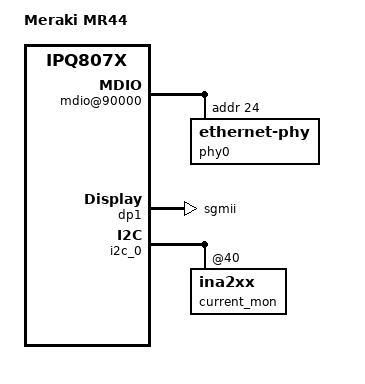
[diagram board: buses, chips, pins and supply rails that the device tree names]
/dts-v1/;

/*
 * device tree for Xray Spex (MR44)
 */

#include "qcom-ipq807x-axe2.dtsi"
#include "qcom-ipq807x-ac-cpu.dtsi"

/ {
	model = "Meraki MR44";
	compatible = "qcom,ipq807x-ac02", "qcom,ipq807x";
};

&soc {
	qca,scm_restart_reason {
		reg = <0xBFF00000 1024>;
		reg-names = "ramoops";
	};

	mdio@90000 {
		pinctrl-0 = <&mdio_pins>;
		pinctrl-names = "default";
		phy-reset-gpio = <&tlmm 44 1>;
		compatible = "qcom,ipq40xx-mdio", "qcom,qca-mdio";
		phy0: ethernet-phy@0 {
			reg = <24>;
		};
	};

	ess-switch@3a000000 {
		/*pinctrl-0 = <&uniphy_pins>;*/
		pinctrl-names = "default";
		switch_cpu_bmp = <0x1>;  /* cpu port bitmap */
		switch_lan_bmp = <0x2>; /* lan port bitmap */
		switch_wan_bmp = <0x20>; /* wan port bitmap */
		switch_mac_mode = <0x0>; /* mac mode for uniphy instance0*/
		switch_mac_mode1 = <0xff>; /* mac mode for uniphy instance1*/
		switch_mac_mode2 = <0xff>; /* mac mode for uniphy instance2*/
		bm_tick_mode = <0>; /* bm tick mode */
		tm_tick_mode = <0>; /* tm tick mode */
		qcom,port_phyinfo {
			port@4 {
				port_id = <5>;
				phy_address = <24>;
				port_mac_sel = "QGMAC_PORT";
			};
		};
  };

	dp1 {
		device_type = "network";
		compatible = "qcom,nss-dp";
		qcom,id = <5>;
		reg = <0x3a001800 0x200>;
		qcom,mactype = <0>;
		local-mac-address = [000000000000];
		qcom,link-poll = <1>;
		qcom,phy-mdio-addr = <24>;
		phy-mode = "sgmii";
	};
};

&i2c_0 {
	current_mon: ina2xx@40 {
		shunt-resistor = <280000>;
	};
};

&tlmm {
	pinctrl-0 = <&ble_pins>;
	pinctrl-names = "default";

	ble_pins: ble_pins {
		mux_0 {
			pins = "gpio16";
			function = "gpio";
			drive-strength = <0>;
			bias-pull-up;
		};
		mux_1 {
			pins = "gpio65";
			function = "gpio";
			drive-strength = <0>;
			bias-disable;
		};
		mux_2 {
			pins = "gpio21";
			function = "gpio";
			drive-strength = <0>;
			bias-disable;
		};
	};
};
